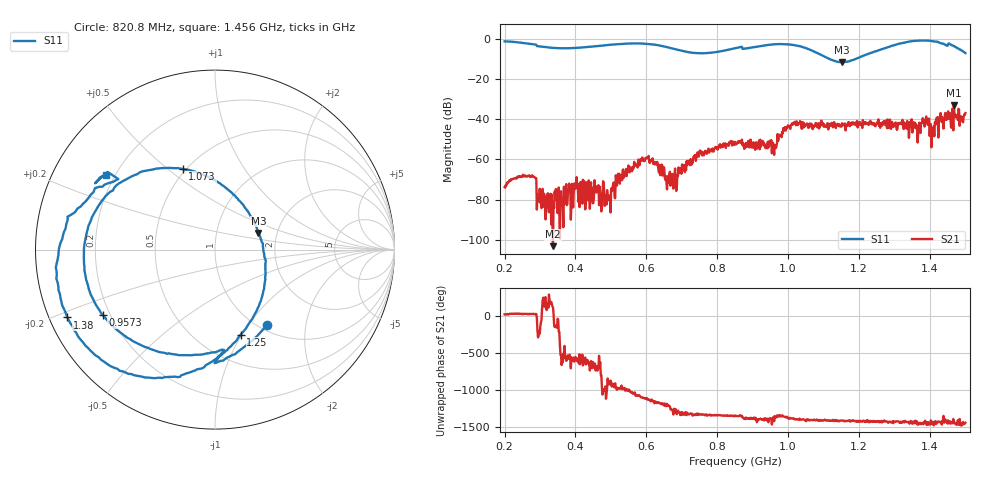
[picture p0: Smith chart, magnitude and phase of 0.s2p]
! NanoVNA-App
! Date: 2024-06-25 16:50:58
! Start: 200MHz Stop: 1.5GHz Points: 801
! S-Parameter data: F S11 S21 S12 S22
# Hz S RI R 50
!  Frequency  S11_Real  S11_Imag  S21_Real  S21_Imag  S12_Real  S12_Imag  S22_Real  S22_Imag
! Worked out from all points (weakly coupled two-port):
!   801 points, 200 MHz to 1.5 GHz, reference 50 ohm
!   highest |S21| = -33.17 dB at 1.468 GHz (marker M1); lowest = -103.2 dB at 336.5 MHz (marker M2)
!   lowest |S11| = -11.7 dB at 1.152 GHz (marker M3), VSWR 1.70, Z = 80 + j15.8 ohm
!   |S11| at or under -10 dB: 1.116 GHz to 1.191 GHz (75.15 MHz wide, 6.51 % of centre)
!   S12 and S22 are empty: the file has one direction only
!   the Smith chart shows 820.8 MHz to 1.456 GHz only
!   S11 on the Smith chart (normalised r, x): 820.8 MHz: 1.09, -1.24; 957.2 MHz: 0.17, -0.26; 1.073 GHz: 0.48, +0.56; 1.25 GHz: 0.79, -0.99; 1.38 GHz: 0.05, -0.22; 1.456 GHz: 0.17, +0.30
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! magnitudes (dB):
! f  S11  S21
! 200 MHz  -1.3  -73.8
! 276.4 MHz  -2.7  -68.5
! 297.5 MHz  -3.8  -80.4
! 336.5 MHz  -4.6  -103.2
! 417.8 MHz  -4.3  -78.9
! 492.5 MHz  -3.1  -80.3
! 583.5 MHz  -2.3  -59.9
! 633.9 MHz  -3.3  -65.0
! 681 MHz  -5.2  -64.5
! 820.8 MHz  -5.9  -52.8
! 850 MHz  -4.7  -51.3
! 957.2 MHz  -2.8  -51.8
! 1.014 GHz  -3.1  -41.8
! 1.068 GHz  -5.9  -43.9
! 1.073 GHz  -6.3  -44.0
! 1.152 GHz  -11.7  -42.0
! 1.25 GHz  -6.1  -42.3
! 1.284 GHz  -4.1  -44.4
! 1.38 GHz  -0.9  -39.5
! 1.456 GHz  -2.7  -37.0
! 1.468 GHz  -3.6  -33.2
! 1.5 GHz  -7.1  -37.0
